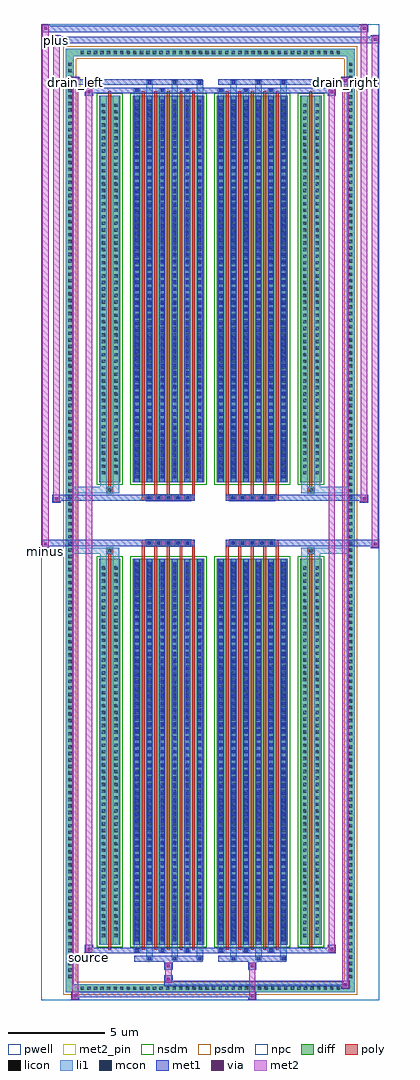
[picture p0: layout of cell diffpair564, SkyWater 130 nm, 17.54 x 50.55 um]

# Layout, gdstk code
import gdstk
lib = gdstk.Library(unit=1e-6, precision=5e-09)
def R(c, l, rs):  # rectangles x0, y0, x1, y1
    for r in rs: c.add(gdstk.rectangle(r[:2], r[2:], *l))
def A(c, l, x, y, w, h, nx, ny, dx, dy):  # array of equal rectangles
    R(c, l, [(x+i*dx, y+j*dy, x+i*dx+w, y+j*dy+h) for i in range(nx) for j in range(ny)])
def P(c, l, *ps):  # polygons
    for p in ps: c.add(gdstk.Polygon(p, *l))
pwell = (64, 44)
diff = (65, 20)
poly = (66, 20)
licon = (66, 44)
li1 = (67, 20)
mcon = (67, 44)
met1 = (68, 20)
via = (68, 44)
met2_pin = (69, 16)
met2 = (69, 20)
nsdm = (93, 44)
psdm = (94, 20)
npc = (95, 20)

diffpair564 = lib.new_cell('diffpair564')
R(diffpair564, pwell, [(-8.75,-24.84,8.75,25.71), (-6.07,-23.03,-0.01,-0.805), (0.01,-23.03,6.07,-0.805), (-6.07,0.805,-0.01,23.03), (0.01,0.805,6.07,23.03)])
A(diffpair564, diff, -6.835, -24.44, 0.41, 0.41, 40, 2, 0.34, 48.47)
A(diffpair564, diff, -7.48, -23.835, 0.41, 0.41, 1, 140, 0, 0.34)
A(diffpair564, diff, 7.07, -23.835, 0.41, 0.41, 1, 140, 0, 0.34)
R(diffpair564, diff, [(-6.835,-24.44,6.835,-24.03), (-7.48,-23.835,-7.07,23.835), (7.07,-23.835,7.48,23.835), (-5.76,-21.985,-4.66,-1.985), (-4.02,-21.985,-0.32,-1.985), (0.32,-21.985,4.02,-1.985), (4.66,-21.985,5.76,-1.985), (-5.76,1.985,-4.66,21.985), (-4.02,1.985,-0.32,21.985), (0.32,1.985,4.02,21.985), (4.66,1.985,5.76,21.985), (-6.835,24.03,6.835,24.44)])
P(diffpair564, diff, [(7.48,24.44),(-7.48,24.44),(-7.48,-24.03),(-7.07,-24.03),(-7.07,24.03),(7.07,24.03),(7.07,-24.03),(-7.07,-24.03),(-7.48,-24.03),(-7.48,-24.44),(7.48,-24.44)])
A(diffpair564, poly, -3.545, -22.235, 0.15, 20.5, 5, 2, 0.65, 23.97)
A(diffpair564, poly, 0.795, -22.235, 0.15, 20.5, 5, 2, 0.65, 23.97)
A(diffpair564, poly, -3.545, -1.735, 0.15, 0.4, 5, 2, 0.65, 3.07)
A(diffpair564, poly, 0.795, -1.735, 0.15, 0.4, 5, 2, 0.65, 3.07)
A(diffpair564, poly, -3.335, -1.335, 0.33, 0.33, 5, 2, 0.5, 2.34)
A(diffpair564, poly, 1.005, -1.335, 0.33, 0.33, 5, 2, 0.5, 2.34)
R(diffpair564, poly, [(-5.285,-22.235,-5.135,-1.735), (5.135,-22.235,5.285,-1.735), (-5.375,-1.735,-5.045,-1.405), (-5.375,-1.735,-5.045,-1.405), (5.045,-1.735,5.375,-1.405), (5.045,-1.735,5.375,-1.405), (-3.545,-1.335,-0.795,-1.005), (0.795,-1.335,3.545,-1.005), (-3.545,1.005,-0.795,1.335), (0.795,1.005,3.545,1.335), (-5.375,1.405,-5.045,1.735), (-5.375,1.405,-5.045,1.735), (5.045,1.405,5.375,1.735), (5.045,1.405,5.375,1.735), (-5.285,1.735,-5.135,22.235), (5.135,1.735,5.285,22.235)])
A(diffpair564, licon, -6.715, -24.32, 0.17, 0.17, 40, 2, 0.34, 48.47)
A(diffpair564, licon, -7.36, -23.715, 0.17, 0.17, 1, 140, 0, 0.34)
A(diffpair564, licon, 7.19, -23.715, 0.17, 0.17, 1, 140, 0, 0.34)
A(diffpair564, licon, -5.62, -21.59, 0.17, 0.17, 1, 57, 0, 0.34)
A(diffpair564, licon, -4.97, -21.59, 0.17, 0.17, 1, 57, 0, 0.34)
A(diffpair564, licon, -3.88, -21.59, 0.17, 0.17, 6, 57, 0.65, 0.34)
A(diffpair564, licon, 0.46, -21.59, 0.17, 0.17, 6, 57, 0.65, 0.34)
A(diffpair564, licon, 4.8, -21.59, 0.17, 0.17, 1, 57, 0, 0.34)
A(diffpair564, licon, 5.45, -21.59, 0.17, 0.17, 1, 57, 0, 0.34)
A(diffpair564, licon, -3.255, -1.255, 0.17, 0.17, 5, 2, 0.5, 2.34)
A(diffpair564, licon, 1.085, -1.255, 0.17, 0.17, 5, 2, 0.5, 2.34)
A(diffpair564, licon, -5.62, 2.38, 0.17, 0.17, 1, 57, 0, 0.34)
A(diffpair564, licon, -4.97, 2.38, 0.17, 0.17, 1, 57, 0, 0.34)
A(diffpair564, licon, -3.88, 2.38, 0.17, 0.17, 6, 57, 0.65, 0.34)
A(diffpair564, licon, 0.46, 2.38, 0.17, 0.17, 6, 57, 0.65, 0.34)
A(diffpair564, licon, 4.8, 2.38, 0.17, 0.17, 1, 57, 0, 0.34)
A(diffpair564, licon, 5.45, 2.38, 0.17, 0.17, 1, 57, 0, 0.34)
R(diffpair564, licon, [(-5.295,-1.655,-5.125,-1.485), (5.125,-1.655,5.295,-1.485), (-5.295,1.485,-5.125,1.655), (5.125,1.485,5.295,1.655)])
A(diffpair564, li1, -6.795, -24.4, 0.33, 0.33, 40, 2, 0.34, 48.47)
A(diffpair564, li1, -7.44, -23.795, 0.33, 0.33, 1, 140, 0, 0.34)
A(diffpair564, li1, 7.11, -23.795, 0.33, 0.33, 1, 140, 0, 0.34)
A(diffpair564, li1, -3.31, -22.79, 0.33, 0.805, 3, 2, 1.3, 44.775)
A(diffpair564, li1, -3.23, -22.79, 0.17, 0.17, 3, 2, 1.3, 45.41)
A(diffpair564, li1, 1.03, -22.79, 0.33, 0.805, 3, 2, 1.3, 44.775)
A(diffpair564, li1, 1.11, -22.79, 0.17, 0.17, 3, 2, 1.3, 45.41)
A(diffpair564, li1, -3.96, -22.36, 0.33, 0.375, 3, 2, 1.3, 44.345)
A(diffpair564, li1, -3.88, -22.36, 0.17, 0.17, 3, 2, 1.3, 44.55)
A(diffpair564, li1, 0.38, -22.36, 0.33, 0.375, 3, 2, 1.3, 44.345)
A(diffpair564, li1, 0.46, -22.36, 0.17, 0.17, 3, 2, 1.3, 44.55)
A(diffpair564, li1, -3.96, -21.985, 0.33, 20, 6, 2, 0.65, 23.97)
A(diffpair564, li1, 0.38, -21.985, 0.33, 20, 6, 2, 0.65, 23.97)
A(diffpair564, li1, -3.88, -21.79, 0.17, 0.17, 6, 55, 0.65, 0.36)
A(diffpair564, li1, -3.88, -21.79, 0.17, 19.61, 6, 2, 0.65, 23.97)
A(diffpair564, li1, 0.46, -21.79, 0.17, 0.17, 6, 55, 0.65, 0.36)
A(diffpair564, li1, 0.46, -21.79, 0.17, 19.61, 6, 2, 0.65, 23.97)
A(diffpair564, li1, -5.7, -21.67, 0.33, 0.33, 1, 57, 0, 0.34)
A(diffpair564, li1, -5.05, -21.67, 0.33, 0.33, 1, 57, 0, 0.34)
A(diffpair564, li1, -3.96, -21.67, 0.33, 0.33, 6, 57, 0.65, 0.34)
A(diffpair564, li1, 0.38, -21.67, 0.33, 0.33, 6, 57, 0.65, 0.34)
A(diffpair564, li1, 4.72, -21.67, 0.33, 0.33, 1, 57, 0, 0.34)
A(diffpair564, li1, 5.37, -21.67, 0.33, 0.33, 1, 57, 0, 0.34)
A(diffpair564, li1, -3.335, -1.335, 0.33, 0.33, 5, 2, 0.5, 2.34)
A(diffpair564, li1, 1.005, -1.335, 0.33, 0.33, 5, 2, 0.5, 2.34)
A(diffpair564, li1, -3.88, 2.18, 0.17, 0.17, 6, 55, 0.65, 0.36)
A(diffpair564, li1, 0.46, 2.18, 0.17, 0.17, 6, 55, 0.65, 0.36)
A(diffpair564, li1, -5.7, 2.3, 0.33, 0.33, 1, 57, 0, 0.34)
A(diffpair564, li1, -5.05, 2.3, 0.33, 0.33, 1, 57, 0, 0.34)
A(diffpair564, li1, -3.96, 2.3, 0.33, 0.33, 6, 57, 0.65, 0.34)
A(diffpair564, li1, 0.38, 2.3, 0.33, 0.33, 6, 57, 0.65, 0.34)
A(diffpair564, li1, 4.72, 2.3, 0.33, 0.33, 1, 57, 0, 0.34)
A(diffpair564, li1, 5.37, 2.3, 0.33, 0.33, 1, 57, 0, 0.34)
R(diffpair564, li1, [(-7.48,-24.44,-7.07,-24.03), (-7.48,-24.44,-7.07,-24.03), (-7.07,-24.44,7.07,-24.03), (7.07,-24.44,7.48,-24.03), (7.07,-24.44,7.48,-24.03), (-7.48,-24.03,-7.07,24.03), (7.07,-24.03,7.48,24.03), (-5.7,-21.985,-5.37,-1.985), (-5.05,-21.985,-4.72,-1.985), (4.72,-21.985,5.05,-1.985), (5.37,-21.985,5.7,-1.985), (-5.7,-1.985,-5.37,-1.405), (-5.05,-1.985,-4.72,-1.405), (4.72,-1.985,5.05,-1.405), (5.37,-1.985,5.7,-1.405), (-7.48,-1.735,-5.375,-1.405), (-5.7,-1.735,-5.375,-1.405), (-5.375,-1.735,-5.045,-1.405), (-5.045,-1.735,-4.72,-1.405), (4.72,-1.735,5.045,-1.405), (5.045,-1.735,5.375,-1.405), (5.045,-1.735,7.48,-1.405), (5.375,-1.735,5.7,-1.405), (-7.48,1.405,-5.375,1.735), (-5.7,1.405,-5.375,1.735), (-5.7,1.405,-5.37,1.985), (-5.375,1.405,-5.045,1.735), (-5.05,1.405,-4.72,1.985), (-5.045,1.405,-4.72,1.735), (4.72,1.405,5.045,1.735), (4.72,1.405,5.05,1.985), (5.045,1.405,5.375,1.735), (5.045,1.405,7.48,1.735), (5.37,1.405,5.7,1.985), (5.375,1.405,5.7,1.735), (-5.7,1.985,-5.37,21.985), (-5.05,1.985,-4.72,21.985), (4.72,1.985,5.05,21.985), (5.37,1.985,5.7,21.985), (-7.48,24.03,-7.07,24.44), (-7.48,24.03,-7.07,24.44), (-7.07,24.03,7.07,24.44), (7.07,24.03,7.48,24.44), (7.07,24.03,7.48,24.44)])
A(diffpair564, mcon, -3.23, -22.79, 0.17, 0.17, 3, 2, 1.3, 45.41)
A(diffpair564, mcon, 1.11, -22.79, 0.17, 0.17, 3, 2, 1.3, 45.41)
A(diffpair564, mcon, -3.88, -22.36, 0.17, 0.17, 3, 2, 1.3, 44.55)
A(diffpair564, mcon, 0.46, -22.36, 0.17, 0.17, 3, 2, 1.3, 44.55)
A(diffpair564, mcon, -3.88, -21.79, 0.17, 0.17, 6, 55, 0.65, 0.36)
A(diffpair564, mcon, 0.46, -21.79, 0.17, 0.17, 6, 55, 0.65, 0.36)
A(diffpair564, mcon, -3.255, -1.255, 0.17, 0.17, 5, 2, 0.5, 2.34)
A(diffpair564, mcon, 1.085, -1.255, 0.17, 0.17, 5, 2, 0.5, 2.34)
A(diffpair564, mcon, -3.88, 2.18, 0.17, 0.17, 6, 55, 0.65, 0.36)
A(diffpair564, mcon, 0.46, 2.18, 0.17, 0.17, 6, 55, 0.65, 0.36)
A(diffpair564, met1, -3.29, -22.85, 0.29, 0.29, 3, 2, 1.3, 45.41)
A(diffpair564, met1, 1.05, -22.85, 0.29, 0.29, 3, 2, 1.3, 45.41)
A(diffpair564, met1, -3.94, -22.42, 0.29, 0.29, 3, 2, 1.3, 44.55)
A(diffpair564, met1, 0.4, -22.42, 0.29, 0.29, 3, 2, 1.3, 44.55)
A(diffpair564, met1, -3.94, -21.985, 0.29, 20, 6, 2, 0.65, 23.97)
A(diffpair564, met1, 0.4, -21.985, 0.29, 20, 6, 2, 0.65, 23.97)
A(diffpair564, met1, -3.94, -21.85, 0.29, 0.29, 6, 55, 0.65, 0.36)
A(diffpair564, met1, 0.4, -21.85, 0.29, 0.29, 6, 55, 0.65, 0.36)
A(diffpair564, met1, -3.315, -1.315, 0.29, 0.29, 5, 2, 0.5, 2.34)
A(diffpair564, met1, 1.025, -1.315, 0.29, 0.29, 5, 2, 0.5, 2.34)
A(diffpair564, met1, -3.94, 2.12, 0.29, 0.29, 6, 55, 0.65, 0.36)
A(diffpair564, met1, 0.4, 2.12, 0.29, 0.29, 6, 55, 0.65, 0.36)
R(diffpair564, met1, [(-7.21,-24.84,-6.78,-24.41), (1.955,-24.84,2.385,-24.41), (-7.21,-24.7,2.385,-24.41), (6.78,-24.27,7.21,-23.84), (-2.385,-24.13,7.21,-23.84), (-2.385,-23.99,-1.955,-23.56), (-2.385,-23.28,-1.955,-22.85), (1.955,-23.28,2.385,-22.85), (-3.94,-22.85,-0.4,-22.56), (0.4,-22.85,3.94,-22.56), (-6.5,-22.42,-6.07,-21.99), (-6.5,-22.42,-3.94,-22.13), (-3.94,-22.42,-0.4,-22.13), (-0.4,-22.42,0.4,-22.13), (0.4,-22.42,3.94,-22.13), (3.94,-22.42,6.5,-22.13), (6.07,-22.42,6.5,-21.99), (-8.75,-1.435,-8.32,-1.005), (8.32,-1.435,8.75,-1.005), (-8.75,-1.335,-0.795,-1.005), (-3.545,-1.335,-0.795,-1.005), (0.795,-1.335,3.545,-1.005), (0.795,-1.335,8.75,-1.005), (-8.18,0.905,-7.75,1.335), (7.75,0.905,8.18,1.335), (-8.18,1.005,-3.545,1.335), (-3.545,1.005,-0.795,1.335), (0.795,1.005,3.545,1.335), (3.545,1.005,8.18,1.335), (-6.5,21.99,-6.07,22.42), (6.07,21.99,6.5,22.42), (-6.5,22.13,-3.94,22.42), (-3.94,22.13,-0.4,22.42), (-0.4,22.13,0.4,22.42), (0.4,22.13,3.94,22.42), (3.94,22.13,6.5,22.42), (-7.21,22.56,-6.78,22.99), (-7.21,22.56,-3.94,22.85), (-3.94,22.56,-0.4,22.85), (0.4,22.56,3.94,22.85), (3.94,22.56,7.21,22.85), (6.78,22.56,7.21,22.99), (-8.18,24.71,-7.75,25.14), (-8.18,24.71,-6.07,25.04), (-6.07,24.71,6.07,25.04), (6.07,24.71,8.75,25.04), (8.32,24.71,8.75,25.14), (-8.75,25.28,-8.32,25.71), (-8.75,25.28,-6.07,25.61), (-6.07,25.28,6.07,25.61), (6.07,25.28,8.18,25.61), (7.75,25.28,8.18,25.71)])
R(diffpair564, via, [(-7.07,-24.7,-6.92,-24.55), (2.095,-24.7,2.245,-24.55), (6.92,-24.13,7.07,-23.98), (-2.245,-23.85,-2.095,-23.7), (-2.245,-23.14,-2.095,-22.99), (2.095,-23.14,2.245,-22.99), (-6.36,-22.28,-6.21,-22.13), (6.21,-22.28,6.36,-22.13), (-8.61,-1.295,-8.46,-1.145), (8.46,-1.295,8.61,-1.145), (-8.04,1.045,-7.89,1.195), (7.89,1.045,8.04,1.195), (-6.36,22.13,-6.21,22.28), (6.21,22.13,6.36,22.28), (-7.07,22.7,-6.92,22.85), (6.92,22.7,7.07,22.85), (-8.04,24.85,-7.89,25), (8.46,24.85,8.61,25), (-8.61,25.42,-8.46,25.57), (7.89,25.42,8.04,25.57)])
R(diffpair564, met2_pin, [(-6.535,-22.87,-6.035,-22.37), (-8.785,-1.885,-8.285,-1.385), (-7.245,22.44,-6.745,22.94), (6.745,22.44,7.245,22.94), (-8.215,24.59,-7.715,25.09)])
R(diffpair564, met2, [(-7.16,-24.79,-6.83,-24.46), (-7.16,-24.79,-6.83,22.94), (2.005,-24.79,2.335,-24.46), (2.005,-24.46,2.335,-23.23), (6.83,-24.22,7.16,-23.89), (6.83,-24.22,7.16,22.94), (-2.335,-23.94,-2.005,-23.61), (-2.335,-23.61,-2.005,-23.23), (-2.335,-23.23,-2.005,-22.9), (2.005,-23.23,2.335,-22.9), (-6.45,-22.37,-6.12,-22.04), (-6.45,-22.37,-6.12,22.37), (6.12,-22.37,6.45,-22.04), (6.12,-22.37,6.45,22.37), (-8.7,-1.385,-8.37,-1.055), (-8.7,-1.385,-8.37,25.66), (8.37,-1.385,8.7,-1.055), (8.37,-1.385,8.7,25.09), (-8.13,0.955,-7.8,1.285), (-8.13,0.955,-7.8,25.09), (7.8,0.955,8.13,1.285), (7.8,0.955,8.13,25.66), (-6.45,22.04,-6.12,22.37), (6.12,22.04,6.45,22.37), (-7.16,22.61,-6.83,22.94), (6.83,22.61,7.16,22.94), (-8.13,24.76,-7.8,25.09), (8.37,24.76,8.7,25.09), (-8.7,25.33,-8.37,25.66), (7.8,25.33,8.13,25.66)])
P(diffpair564, met2, [(8.7,-1.385),(8.7,-1.385),(8.7,-1.055),(8.7,-1.055)],
  [(8.7,24.76),(8.7,24.76),(8.7,25.09),(8.7,25.09)],
  [(-8.37,-1.385),(-8.37,-1.385),(-8.37,-1.055),(-8.37,-1.055)],
  [(-8.37,25.33),(-8.37,25.33),(-8.37,25.66),(-8.37,25.66)],
  [(8.13,0.955),(8.13,0.955),(8.13,1.285),(8.13,1.285)],
  [(8.13,25.33),(8.13,25.33),(8.13,25.66),(8.13,25.66)],
  [(-7.8,0.955),(-7.8,0.955),(-7.8,1.285),(-7.8,1.285)],
  [(-7.8,24.76),(-7.8,24.76),(-7.8,25.09),(-7.8,25.09)],
  [(-6.83,-24.79),(-6.83,-24.79),(-6.83,-24.46),(-6.83,-24.46)],
  [(-6.83,22.61),(-6.83,22.61),(-6.83,22.94),(-6.83,22.94)],
  [(7.16,-24.22),(7.16,-24.22),(7.16,-23.89),(7.16,-23.89)],
  [(7.16,22.61),(7.16,22.61),(7.16,22.94),(7.16,22.94)],
  [(-6.12,-22.37),(-6.12,-22.37),(-6.12,-22.04),(-6.12,-22.04)],
  [(-6.12,22.04),(-6.12,22.04),(-6.12,22.37),(-6.12,22.37)],
  [(6.45,-22.37),(6.45,-22.37),(6.45,-22.04),(6.45,-22.04)],
  [(6.45,22.04),(6.45,22.04),(6.45,22.37),(6.45,22.37)])
R(diffpair564, nsdm, [(-5.89,-22.115,-4.53,-1.855), (-4.15,-22.115,-0.19,-1.855), (0.19,-22.115,4.15,-1.855), (4.53,-22.115,5.89,-1.855), (-5.89,1.855,-4.53,22.115), (-4.15,1.855,-0.19,22.115), (0.19,1.855,4.15,22.115), (4.53,1.855,5.89,22.115)])
P(diffpair564, psdm, [(7.61,24.57),(-7.61,24.57),(-7.61,-23.9),(-6.94,-23.9),(-6.94,23.9),(6.94,23.9),(6.94,-23.9),(-6.94,-23.9),(-7.61,-23.9),(-7.61,-24.57),(7.61,-24.57)])
A(diffpair564, npc, -3.355, -1.355, 0.37, 0.37, 5, 2, 0.5, 2.34)
A(diffpair564, npc, 0.985, -1.355, 0.37, 0.37, 5, 2, 0.5, 2.34)
R(diffpair564, npc, [(-5.395,-1.755,-5.025,-1.385), (5.025,-1.755,5.395,-1.385), (-3.355,-1.355,-2.485,-0.985), (-3.355,-1.355,-2.485,-0.985), (-2.855,-1.355,-1.985,-0.985), (-2.855,-1.355,-1.985,-0.985), (-2.355,-1.355,-1.485,-0.985), (-2.355,-1.355,-1.485,-0.985), (-1.855,-1.355,-0.985,-0.985), (-1.855,-1.355,-0.985,-0.985), (0.985,-1.355,1.855,-0.985), (0.985,-1.355,1.855,-0.985), (1.485,-1.355,2.355,-0.985), (1.485,-1.355,2.355,-0.985), (1.985,-1.355,2.855,-0.985), (1.985,-1.355,2.855,-0.985), (2.485,-1.355,3.355,-0.985), (2.485,-1.355,3.355,-0.985), (-3.355,0.985,-2.485,1.355), (-3.355,0.985,-2.485,1.355), (-2.855,0.985,-1.985,1.355), (-2.855,0.985,-1.985,1.355), (-2.355,0.985,-1.485,1.355), (-2.355,0.985,-1.485,1.355), (-1.855,0.985,-0.985,1.355), (-1.855,0.985,-0.985,1.355), (0.985,0.985,1.855,1.355), (0.985,0.985,1.855,1.355), (1.485,0.985,2.355,1.355), (1.485,0.985,2.355,1.355), (1.985,0.985,2.855,1.355), (1.985,0.985,2.855,1.355), (2.485,0.985,3.355,1.355), (2.485,0.985,3.355,1.355), (-5.395,1.385,-5.025,1.755), (5.025,1.385,5.395,1.755)])
diffpair564.add(gdstk.Label('minus', (-8.535,-1.635), layer=69, texttype=5))
diffpair564.add(gdstk.Label('drain_right', (6.995,22.69), layer=69, texttype=5))
diffpair564.add(gdstk.Label('drain_left', (-6.995,22.69), layer=69, texttype=5))
diffpair564.add(gdstk.Label('source', (-6.285,-22.62), layer=69, texttype=5))
diffpair564.add(gdstk.Label('plus', (-7.965,24.84), layer=69, texttype=5))

lib.write_gds('diffpair564.gds')
